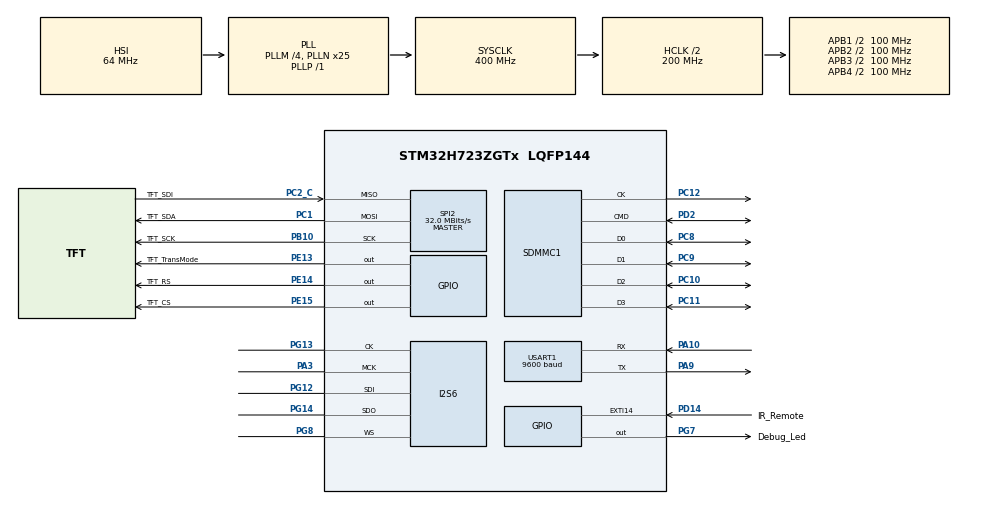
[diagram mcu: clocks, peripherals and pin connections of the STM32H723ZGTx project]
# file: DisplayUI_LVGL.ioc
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Bdma.Request0=SPI6_TX
Bdma.RequestsNb=1
Bdma.SPI6_TX.0.Direction=DMA_MEMORY_TO_PERIPH
Bdma.SPI6_TX.0.EventEnable=DISABLE
Bdma.SPI6_TX.0.Instance=BDMA_Channel0
Bdma.SPI6_TX.0.MemDataAlignment=DMA_MDATAALIGN_HALFWORD
Bdma.SPI6_TX.0.MemInc=DMA_MINC_ENABLE
Bdma.SPI6_TX.0.Mode=DMA_CIRCULAR
Bdma.SPI6_TX.0.PeriphDataAlignment=DMA_PDATAALIGN_HALFWORD
Bdma.SPI6_TX.0.PeriphInc=DMA_PINC_DISABLE
Bdma.SPI6_TX.0.Polarity=HAL_DMAMUX_REQ_GEN_RISING
Bdma.SPI6_TX.0.Priority=DMA_PRIORITY_LOW
Bdma.SPI6_TX.0.RequestNumber=1
Bdma.SPI6_TX.0.SignalID=NONE
Bdma.SPI6_TX.0.SyncEnable=DISABLE
Bdma.SPI6_TX.0.SyncPolarity=HAL_DMAMUX_SYNC_NO_EVENT
Bdma.SPI6_TX.0.SyncRequestNumber=1
Bdma.SPI6_TX.0.SyncSignalID=NONE
CORTEX_M7.default_mode_Activation=1
Dma.Request0=SPI2_TX
Dma.Request1=USART1_RX
Dma.SPI2_TX.0.Direction=DMA_MEMORY_TO_PERIPH
Dma.SPI2_TX.0.EventEnable=DISABLE
Dma.SPI2_TX.0.FIFOMode=DMA_FIFOMODE_DISABLE
Dma.SPI2_TX.0.Instance=DMA1_Stream3
Dma.SPI2_TX.0.MemDataAlignment=DMA_MDATAALIGN_BYTE
Dma.SPI2_TX.0.MemInc=DMA_MINC_ENABLE
Dma.SPI2_TX.0.Mode=DMA_NORMAL
Dma.SPI2_TX.0.PeriphDataAlignment=DMA_PDATAALIGN_BYTE
Dma.SPI2_TX.0.PeriphInc=DMA_PINC_DISABLE
Dma.SPI2_TX.0.Polarity=HAL_DMAMUX_REQ_GEN_RISING
Dma.SPI2_TX.0.Priority=DMA_PRIORITY_LOW
Dma.SPI2_TX.0.RequestNumber=1
Dma.SPI2_TX.0.SignalID=NONE
Dma.SPI2_TX.0.SyncEnable=DISABLE
Dma.SPI2_TX.0.SyncPolarity=HAL_DMAMUX_SYNC_NO_EVENT
Dma.SPI2_TX.0.SyncRequestNumber=1
Dma.SPI2_TX.0.SyncSignalID=NONE
Dma.USART1_RX.1.Direction=DMA_PERIPH_TO_MEMORY
Dma.USART1_RX.1.EventEnable=DISABLE
Dma.USART1_RX.1.FIFOMode=DMA_FIFOMODE_DISABLE
Dma.USART1_RX.1.Instance=DMA1_Stream0
Dma.USART1_RX.1.MemDataAlignment=DMA_MDATAALIGN_BYTE
Dma.USART1_RX.1.MemInc=DMA_MINC_ENABLE
Dma.USART1_RX.1.Mode=DMA_NORMAL
Dma.USART1_RX.1.PeriphDataAlignment=DMA_PDATAALIGN_BYTE
Dma.USART1_RX.1.PeriphInc=DMA_PINC_DISABLE
Dma.USART1_RX.1.Polarity=HAL_DMAMUX_REQ_GEN_RISING
Dma.USART1_RX.1.Priority=DMA_PRIORITY_LOW
Dma.USART1_RX.1.RequestNumber=1
Dma.USART1_RX.1.SignalID=NONE
Dma.USART1_RX.1.SyncEnable=DISABLE
Dma.USART1_RX.1.SyncPolarity=HAL_DMAMUX_SYNC_NO_EVENT
Dma.USART1_RX.1.SyncRequestNumber=1
Dma.USART1_RX.1.SyncSignalID=NONE
FATFS._FS_TIMEOUT=0x2710
FATFS._MAX_SS=4096
FATFS._MULTI_PARTITION=0
FATFS._USE_CHMOD=0
FATFS._USE_LABEL=1
FATFS._USE_LFN=3
I2S6.AudioFreq=I2S_AUDIOFREQ_16K
I2S6.ErrorAudioFreq=1.72 %
I2S6.Instance=SPI$Index
I2S6.RealAudioFreq=16.276 KHz
Mcu.Family=STM32H7
Mcu.Name=STM32H723ZGTx
Mcu.Package=LQFP144
NVIC.BDMA_Channel0_IRQn=true\:2\:0\:true\:false\:true\:false\:true\:true
NVIC.DMA1_Stream0_IRQn=true\:0\:0\:false\:false\:true\:false\:true\:true
NVIC.DMA1_Stream3_IRQn=true\:0\:0\:true\:false\:true\:false\:true\:true
NVIC.EXTI15_10_IRQn=true\:1\:0\:true\:false\:true\:true\:true\:true
NVIC.PriorityGroup=NVIC_PRIORITYGROUP_4
NVIC.SDMMC1_IRQn=true\:1\:0\:true\:false\:true\:true\:true\:true
NVIC.SPI2_IRQn=true\:0\:0\:false\:false\:true\:false\:true\:true
NVIC.USART1_IRQn=true\:0\:0\:false\:false\:true\:true\:true\:true
PA10.Mode=Asynchronous
PA10.Signal=USART1_RX
PA13(JTMS/SWDIO).Mode=Serial_Wire
PA13(JTMS/SWDIO).Signal=DEBUG_JTMS-SWDIO
PA14(JTCK/SWCLK).Mode=Serial_Wire
PA14(JTCK/SWCLK).Signal=DEBUG_JTCK-SWCLK
PA3.Mode=Master_Clock_Activated
PA3.Signal=I2S6_MCK
PA9.Mode=Asynchronous
PA9.Signal=USART1_TX
PB10.GPIO_Label=TFT_SCK
PB10.Mode=Full_Duplex_Master
PB10.Signal=SPI2_SCK
PC1.GPIO_Label=TFT_SDA
PC1.Mode=Full_Duplex_Master
PC1.Signal=SPI2_MOSI
PC10.Mode=SD_4_bits_Wide_bus
PC10.Signal=SDMMC1_D2
PC11.Mode=SD_4_bits_Wide_bus
PC11.Signal=SDMMC1_D3
PC12.Mode=SD_4_bits_Wide_bus
PC12.Signal=SDMMC1_CK
PC2_C.GPIO_Label=TFT_SDI
PC2_C.Mode=Full_Duplex_Master
PC2_C.Signal=SPI2_MISO
PC8.Mode=SD_4_bits_Wide_bus
PC8.Signal=SDMMC1_D0
PC9.Mode=SD_4_bits_Wide_bus
PC9.Signal=SDMMC1_D1
PD14.GPIO_Label=IR_Remote
PD14.GPIO_ModeDefaultEXTI=GPIO_MODE_IT_FALLING
PD14.GPIO_PuPd=GPIO_PULLUP
PD14.Signal=GPXTI14
PD2.Mode=SD_4_bits_Wide_bus
PD2.Signal=SDMMC1_CMD
PE13.GPIO_Label=TFT_TransMode
PE13.Signal=GPIO_Output
PE14.GPIO_Label=TFT_RS
PE14.Signal=GPIO_Output
PE15.GPIO_Label=TFT_CS
PE15.Signal=GPIO_Output
PG12.Mode=Full_Duplex_Master
PG12.Signal=I2S6_SDI
PG13.Mode=Full_Duplex_Master
PG13.Signal=I2S6_CK
PG14.Mode=Full_Duplex_Master
PG14.Signal=I2S6_SDO
PG7.GPIO_Label=Debug_Led
PG7.Signal=GPIO_Output
PG8.Mode=Full_Duplex_Master
PG8.Signal=I2S6_WS
PH0-OSC_IN.Mode=HSE-External-Oscillator
PH0-OSC_IN.Signal=RCC_OSC_IN
PH1-OSC_OUT.Mode=HSE-External-Oscillator
PH1-OSC_OUT.Signal=RCC_OSC_OUT
ProjectManager.HeapSize=0x200
ProjectManager.StackSize=0x400
ProjectManager.TargetToolchain=STM32CubeIDE
RCC.ADCFreq_Value=64000000
RCC.APB1Freq_Value=100000000
RCC.APB2Freq_Value=100000000
RCC.APB3Freq_Value=100000000
RCC.APB4Freq_Value=100000000
RCC.CortexFreq_Value=400000000
RCC.D1PPRE=RCC_APB3_DIV2
RCC.D2PPRE1=RCC_APB1_DIV2
RCC.D2PPRE2=RCC_APB2_DIV2
RCC.D3PPRE=RCC_APB4_DIV2
RCC.DIVM1=4
RCC.DIVM2=4
RCC.DIVM3=4
RCC.DIVN1=25
RCC.DIVN2=12
RCC.DIVN3=12
RCC.DIVP1=1
RCC.DIVP2=3
RCC.DIVP3=1
RCC.DIVR2=1
RCC.HCLKFreq_Value=200000000
RCC.HPRE=RCC_HCLK_DIV2
RCC.PLL2FRACN=0
RCC.PLL3FRACN=0
RCC.PLLFRACN=0
RCC.SPI123CLockSelection=RCC_SPI123CLKSOURCE_CLKP
RCC.SYSCLKFreq_VALUE=400000000
RCC.SYSCLKSource=RCC_SYSCLKSOURCE_PLLCLK
RCC.USBFreq_Value=200000000
SDMMC1.ClockDiv=4
SDMMC1.HardwareFlowControl=SDMMC_HARDWARE_FLOW_CONTROL_ENABLE
SDMMC1.TransceiverPresent=SDMMC_TRANSCEIVER_NOT_PRESENT
SPI2.BaudRatePrescaler=SPI_BAUDRATEPRESCALER_2
SPI2.CalculateBaudRate=32.0 MBits/s
SPI2.DataSize=SPI_DATASIZE_8BIT
SPI2.Direction=SPI_DIRECTION_2LINES
SPI2.FirstBit=SPI_FIRSTBIT_MSB
SPI2.Mode=SPI_MODE_MASTER
SPI2.NSSPMode=SPI_NSS_PULSE_DISABLE
SPI2.VirtualType=VM_MASTER
TIM4.Prescaler=216
USART1.BaudRate=9600
USART1.VirtualMode-Asynchronous=VM_ASYNC
VP_FATFS_VS_Generic.Mode=User_defined
VP_FATFS_VS_SDIO.Mode=SDIO
VP_LIBJPEG_VS_JPEGLIB.Mode=Enabled
VP_MEMORYMAP_VS_MEMORYMAP.Mode=CurAppReg
VP_TIM4_VS_ClockSourceINT.Mode=Internal
board=custom

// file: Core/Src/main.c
/* USER CODE BEGIN Header */
/**
 ******************************************************************************
 * @file           : main.c
 * @brief          : Main program body
 ******************************************************************************
 * @attention
 *
 * Copyright (c) 2025 STMicroelectronics.
 * All rights reserved.
 *
 * This software is licensed under terms that can be found in the LICENSE file
 * in the root directory of this software component.
 * If no LICENSE file comes with this software, it is provided AS-IS.
 *
 ******************************************************************************
 */
/* USER CODE END Header */
#include "main.h"
#include "fatfs.h"
#include "libjpeg.h"

/* USER CODE BEGIN Includes */
#include "display.h"
//#include "jpeg_lcd.h"
#include "sdio_benchmark.h"
#include "sdio_functions.h"
#include "wav_player.h"
#include "itr.h"

#include "lvgl.h"
#include "ui.h"
/* USER CODE END Includes */

I2S_HandleTypeDef hi2s6;
DMA_HandleTypeDef hdma_spi6_tx;

SD_HandleTypeDef hsd1;

SPI_HandleTypeDef hspi2;
DMA_HandleTypeDef hdma_spi2_tx;

TIM_HandleTypeDef htim4;

UART_HandleTypeDef huart1;
DMA_HandleTypeDef hdma_usart1_rx;

/* USER CODE BEGIN PV */
//For File browser and UART
uint8_t firmware_data[1024];
volatile uint8_t FileSelection = 0;
SDFile_Info FileListTree;
SDFile_Info *Current_Page;
//For image display
UINT br;
uint8_t image_id = 0;
volatile uint8_t IsPlayingContent = 0;
char path[256];
char SDFullName[256];
//For IR Remote control
uint32_t tempCode;
uint8_t bitIndex;
uint8_t cmd;
uint8_t cmdli;
uint32_t code;
//extern lv_obj_t *Slider;
extern objects_t objects;
/* USER CODE END PV */

void SystemClock_Config(void);
void PeriphCommonClock_Config(void);
static void MPU_Config(void);
static void MX_GPIO_Init(void);
static void MX_DMA_Init(void);
static void MX_BDMA_Init(void);
static void MX_SPI2_Init(void);
static void MX_USART1_UART_Init(void);
static void MX_I2S6_Init(void);
static void MX_TIM4_Init(void);
static void MX_SDMMC1_SD_Init(void);
/* USER CODE BEGIN PFP */
static void IR_Control(uint32_t Ir_code);
/* USER CODE END PFP */

/* USER CODE BEGIN 0 */

int _write(int fd, unsigned char *buf, int len) {
	if (fd == 1 || fd == 2) {                              // stdout or stderr ?
		HAL_UART_Transmit(&huart1, buf, len, 999); // Print to the UART
	}
	return len;
}

// GPIO EXTI callbacks
void HAL_GPIO_EXTI_Callback(uint16_t GPIO_Pin) {
	UNUSED(GPIO_Pin);
	if (GPIO_Pin == IR_Remote_Pin) {
		if (__HAL_TIM_GET_COUNTER(&htim4) > 8000) {
			tempCode = 0;
			bitIndex = 0;
		} else if (__HAL_TIM_GET_COUNTER(&htim4) > 1700) {
			tempCode |= (1UL << (31 - bitIndex)); // write 1
			bitIndex++;
		} else if (__HAL_TIM_GET_COUNTER(&htim4) > 1000) {
			tempCode &= ~(1UL << (31 - bitIndex)); // write 0
			bitIndex++;
		}
		if (bitIndex == 32) {
			cmdli = ~tempCode;   // Logical inverted last 8 bits
			cmd = tempCode >> 8; // Second last 8 bits
			if (cmdli == cmd)    // Check for errors
					{
				code = tempCode; // If no bit errors
				// Do your main work HERE
				IR_Control(code);
			}
			bitIndex = 0;
		}
		__HAL_TIM_SET_COUNTER(&htim4, 0);
	}
}
// UART callbacks
void HAL_UARTEx_RxEventCallback(UART_HandleTypeDef *huart, uint16_t Size) {
	memset(firmware_data, 0, 1024);
	HAL_UARTEx_ReceiveToIdle_IT(&huart1, firmware_data, 1024);
}

// Cb for LVGL display
void my_flush_cb(lv_display_t * display, const lv_area_t * area, uint8_t * px_map)
{
    /* The most simple case (also the slowest) to send all rendered pixels to the
     * screen one-by-one.  `put_px` is just an example.  It needs to be implemented by you. */
    uint16_t * buf16 = (uint16_t *)px_map; /* Let's say it's a 16 bit (RGB565) display */
    int32_t x, y;
    for(y = area->y1; y <= area->y2; y++) {
        for(x = area->x1; x <= area->x2; x++) {
        	*buf16 = *buf16 >> 8 | *buf16 << 8;
        	LCD_DrawPixData(x,y,1,1,buf16);
            //put_px(x, y, *buf16);
            buf16++;
        }
    }

    /* IMPORTANT!!!
     * Inform LVGL that flushing is complete so buffer can be modified again. */
    lv_display_flush_ready(display);
}
volatile uint32_t Remaining = 0;
/* USER CODE END 0 */

int main(void)
{

  /* USER CODE BEGIN 1 */
	FIL video_f;

  /* USER CODE END 1 */

  /* MPU Configuration--------------------------------------------------------*/
  MPU_Config();

  /* MCU Configuration--------------------------------------------------------*/

  /* Reset of all peripherals, Initializes the Flash interface and the Systick. */
  HAL_Init();

  /* Configure the system clock */
  SystemClock_Config();

  /* Configure the peripherals common clocks */
  PeriphCommonClock_Config();

  /* Initialize all configured peripherals */
  MX_GPIO_Init();
  MX_DMA_Init();
  MX_BDMA_Init();
  MX_FATFS_Init();
  MX_SPI2_Init();
  MX_LIBJPEG_Init();
  MX_USART1_UART_Init();
  MX_I2S6_Init();
  MX_TIM4_Init();
  MX_SDMMC1_SD_Init();
  /* USER CODE BEGIN 2 */
	// System peripheral
	HAL_TIM_Base_Start(&htim4);
	__HAL_TIM_SET_COUNTER(&htim4, 0);
	HAL_UARTEx_ReceiveToIdle_IT(&huart1, firmware_data, 1024);
	// User playground
	// For display
	LCD_Init(&hspi2, &IsPlayingContent, 1);
	LCD_AdjustGamma();
	LCD_FillScreen(0x0000, 320, 240);
//For LVGL
	lv_init();
	lv_tick_set_cb(HAL_GetTick);
	lv_display_t * display1 = lv_display_create(320, 240);
	static uint8_t buf1[320 * 240 / 10 * 2];
	/* Set display buffer for display `display1`. */
	lv_display_set_buffers(display1, buf1, NULL, sizeof(buf1), LV_DISPLAY_RENDER_MODE_PARTIAL);
	lv_display_set_flush_cb(display1, my_flush_cb);
    ui_init();
	// For SD card
#define IDLEx
#ifndef IDLE
	while (1) {
		if (sdio_mount() == FR_OK) {
			break;
		}
	}
	HAL_Delay(2000);
	IsPlayingContent = 0;

	sdio_list_files(&FileListTree);
    print_directory(FileListTree.Directory_Ptr, 0, FileListTree.childCount);

	Itr_InitI2SCBFunc(Audio_I2S_TxHalfCb, Audio_I2S_TxCpltCb);
	Itr_InitSPICBFunc(LCD_SPI_TxCpltCb, LCD_SPI_TxRxCpltCb);
//	 For File browser
	/*Point to root page*/

//	memset(path,0,256);
//	memset(SDFullName,0,256);
//	strcat(path,"0:/");

	Current_Page = FileListTree.Directory_Ptr;
	Browser_Init(&Current_Page);
//	Audio_Init(&hi2s6, &IsPlayingContent);
//	mp3_start_play("Vicetone_Nevada.mp3");
	uint32_t maxsize = Remaining;
	uint32_t prev = maxsize;
	uint32_t percen = 0;
	uint32_t time_till_next = 0;
	uint32_t oneIn100 = maxsize/100;

#endif
  /* USER CODE END 2 */
	uint32_t now = 0; uint32_t next_tick = 2000;
	uint8_t block = 0;
  /* Infinite loop */
  /* USER CODE BEGIN WHILE */
	while (1) {
		now = uwTick;
		if (now > next_tick) {
			if (IsPlayingContent) {
				time_till_next = lv_timer_handler();
				if( (prev - Remaining) >  oneIn100){
					prev = Remaining;
					percen++;
					lv_bar_set_value(objects.play_back_status, percen, LV_ANIM_ON);
				}
				next_tick += time_till_next;
			}
			else{
				next_tick += 1000;
			}

		}
		if(!block && IsPlayingContent){
			if (Current_Page[FileSelection].format == emMP3) {
				LCD_FillScreen(0xffff, 320, 240);
				sprintf(SDFullName, "%s/%s", path, Current_Page[FileSelection].name);
				printf("MP3 file path: %s\n", SDFullName);
				Audio_Init(&hi2s6, &IsPlayingContent);
				time_till_next = lv_timer_handler();
				HAL_Delay(time_till_next);
				mp3_start_play(SDFullName);
				//LVGL
				lv_obj_clean(lv_scr_act());
				ui_init();
				lv_textarea_set_text(objects.music_file, Current_Page[FileSelection].name);
				maxsize = Remaining;
				prev = maxsize;
				oneIn100 = maxsize/100;
				percen = 0;
				//Browser_FileCtrl(IR_EQ, FileSelection);
				block = 1;
				uint32_t time_till_next = lv_timer_handler();
			}
		}
		else if(block && IsPlayingContent == 0){
			block = 0;
			Browser_FileCtrl(IR_EQ, FileSelection);
		}

    /* USER CODE END WHILE */

	}
}

void SystemClock_Config(void)
{
  RCC_OscInitTypeDef RCC_OscInitStruct = {0};
  RCC_ClkInitTypeDef RCC_ClkInitStruct = {0};

  /** Supply configuration update enable
  */
  HAL_PWREx_ConfigSupply(PWR_LDO_SUPPLY);

  /** Configure the main internal regulator output voltage
  */
  __HAL_PWR_VOLTAGESCALING_CONFIG(PWR_REGULATOR_VOLTAGE_SCALE1);

  while(!__HAL_PWR_GET_FLAG(PWR_FLAG_VOSRDY)) {}

  /** Initializes the RCC Oscillators according to the specified parameters
  * in the RCC_OscInitTypeDef structure.
  */
  RCC_OscInitStruct.OscillatorType = RCC_OSCILLATORTYPE_HSI;
  RCC_OscInitStruct.HSIState = RCC_HSI_DIV1;
  RCC_OscInitStruct.HSICalibrationValue = 64;
  RCC_OscInitStruct.PLL.PLLState = RCC_PLL_ON;
  RCC_OscInitStruct.PLL.PLLSource = RCC_PLLSOURCE_HSI;
  RCC_OscInitStruct.PLL.PLLM = 4;
  RCC_OscInitStruct.PLL.PLLN = 25;
  RCC_OscInitStruct.PLL.PLLP = 1;
  RCC_OscInitStruct.PLL.PLLQ = 2;
  RCC_OscInitStruct.PLL.PLLR = 2;
  RCC_OscInitStruct.PLL.PLLRGE = RCC_PLL1VCIRANGE_3;
  RCC_OscInitStruct.PLL.PLLVCOSEL = RCC_PLL1VCOWIDE;
  RCC_OscInitStruct.PLL.PLLFRACN = 0;
  if (HAL_RCC_OscConfig(&RCC_OscInitStruct) != HAL_OK)
  {
    Error_Handler();
  }

  /** Initializes the CPU, AHB and APB buses clocks
  */
  RCC_ClkInitStruct.ClockType = RCC_CLOCKTYPE_HCLK|RCC_CLOCKTYPE_SYSCLK
                              |RCC_CLOCKTYPE_PCLK1|RCC_CLOCKTYPE_PCLK2
                              |RCC_CLOCKTYPE_D3PCLK1|RCC_CLOCKTYPE_D1PCLK1;
  RCC_ClkInitStruct.SYSCLKSource = RCC_SYSCLKSOURCE_PLLCLK;
  RCC_ClkInitStruct.SYSCLKDivider = RCC_SYSCLK_DIV1;
  RCC_ClkInitStruct.AHBCLKDivider = RCC_HCLK_DIV2;
  RCC_ClkInitStruct.APB3CLKDivider = RCC_APB3_DIV2;
  RCC_ClkInitStruct.APB1CLKDivider = RCC_APB1_DIV2;
  RCC_ClkInitStruct.APB2CLKDivider = RCC_APB2_DIV2;
  RCC_ClkInitStruct.APB4CLKDivider = RCC_APB4_DIV2;

  if (HAL_RCC_ClockConfig(&RCC_ClkInitStruct, FLASH_LATENCY_2) != HAL_OK)
  {
    Error_Handler();
  }
}

void PeriphCommonClock_Config(void)
{
  RCC_PeriphCLKInitTypeDef PeriphClkInitStruct = {0};

  /** Initializes the peripherals clock
  */
  PeriphClkInitStruct.PeriphClockSelection = RCC_PERIPHCLK_CKPER;
  PeriphClkInitStruct.CkperClockSelection = RCC_CLKPSOURCE_HSI;
  if (HAL_RCCEx_PeriphCLKConfig(&PeriphClkInitStruct) != HAL_OK)
  {
    Error_Handler();
  }
}

static void MX_I2S6_Init(void)
{

  hi2s6.Instance = SPI6;
  hi2s6.Init.Mode = I2S_MODE_MASTER_FULLDUPLEX;
  hi2s6.Init.Standard = I2S_STANDARD_PHILIPS;
  hi2s6.Init.DataFormat = I2S_DATAFORMAT_16B;
  hi2s6.Init.MCLKOutput = I2S_MCLKOUTPUT_ENABLE;
  hi2s6.Init.AudioFreq = I2S_AUDIOFREQ_16K;
  hi2s6.Init.CPOL = I2S_CPOL_LOW;
  hi2s6.Init.FirstBit = I2S_FIRSTBIT_MSB;
  hi2s6.Init.WSInversion = I2S_WS_INVERSION_DISABLE;
  hi2s6.Init.Data24BitAlignment = I2S_DATA_24BIT_ALIGNMENT_RIGHT;
  hi2s6.Init.MasterKeepIOState = I2S_MASTER_KEEP_IO_STATE_DISABLE;
  if (HAL_I2S_Init(&hi2s6) != HAL_OK)
  {
    Error_Handler();
  }

}

static void MX_SDMMC1_SD_Init(void)
{

  hsd1.Instance = SDMMC1;
  hsd1.Init.ClockEdge = SDMMC_CLOCK_EDGE_RISING;
  hsd1.Init.ClockPowerSave = SDMMC_CLOCK_POWER_SAVE_DISABLE;
  hsd1.Init.BusWide = SDMMC_BUS_WIDE_4B;
  hsd1.Init.HardwareFlowControl = SDMMC_HARDWARE_FLOW_CONTROL_ENABLE;
  hsd1.Init.ClockDiv = 4;
  if (HAL_SD_Init(&hsd1) != HAL_OK)
  {
    Error_Handler();
  }

}

static void MX_SPI2_Init(void)
{

  /* SPI2 parameter configuration*/
  hspi2.Instance = SPI2;
  hspi2.Init.Mode = SPI_MODE_MASTER;
  hspi2.Init.Direction = SPI_DIRECTION_2LINES;
  hspi2.Init.DataSize = SPI_DATASIZE_8BIT;
  hspi2.Init.CLKPolarity = SPI_POLARITY_LOW;
  hspi2.Init.CLKPhase = SPI_PHASE_1EDGE;
  hspi2.Init.NSS = SPI_NSS_SOFT;
  hspi2.Init.BaudRatePrescaler = SPI_BAUDRATEPRESCALER_2;
  hspi2.Init.FirstBit = SPI_FIRSTBIT_MSB;
  hspi2.Init.TIMode = SPI_TIMODE_DISABLE;
  hspi2.Init.CRCCalculation = SPI_CRCCALCULATION_DISABLE;
  hspi2.Init.CRCPolynomial = 0x0;
  hspi2.Init.NSSPMode = SPI_NSS_PULSE_DISABLE;
  hspi2.Init.NSSPolarity = SPI_NSS_POLARITY_LOW;
  hspi2.Init.FifoThreshold = SPI_FIFO_THRESHOLD_01DATA;
  hspi2.Init.TxCRCInitializationPattern = SPI_CRC_INITIALIZATION_ALL_ZERO_PATTERN;
  hspi2.Init.RxCRCInitializationPattern = SPI_CRC_INITIALIZATION_ALL_ZERO_PATTERN;
  hspi2.Init.MasterSSIdleness = SPI_MASTER_SS_IDLENESS_00CYCLE;
  hspi2.Init.MasterInterDataIdleness = SPI_MASTER_INTERDATA_IDLENESS_00CYCLE;
  hspi2.Init.MasterReceiverAutoSusp = SPI_MASTER_RX_AUTOSUSP_DISABLE;
  hspi2.Init.MasterKeepIOState = SPI_MASTER_KEEP_IO_STATE_DISABLE;
  hspi2.Init.IOSwap = SPI_IO_SWAP_DISABLE;
  if (HAL_SPI_Init(&hspi2) != HAL_OK)
  {
    Error_Handler();
  }

}

static void MX_TIM4_Init(void)
{

  TIM_ClockConfigTypeDef sClockSourceConfig = {0};
  TIM_MasterConfigTypeDef sMasterConfig = {0};

  htim4.Instance = TIM4;
  htim4.Init.Prescaler = 216;
  htim4.Init.CounterMode = TIM_COUNTERMODE_UP;
  htim4.Init.Period = 65535;
  htim4.Init.ClockDivision = TIM_CLOCKDIVISION_DIV1;
  htim4.Init.AutoReloadPreload = TIM_AUTORELOAD_PRELOAD_DISABLE;
  if (HAL_TIM_Base_Init(&htim4) != HAL_OK)
  {
    Error_Handler();
  }
  sClockSourceConfig.ClockSource = TIM_CLOCKSOURCE_INTERNAL;
  if (HAL_TIM_ConfigClockSource(&htim4, &sClockSourceConfig) != HAL_OK)
  {
    Error_Handler();
  }
  sMasterConfig.MasterOutputTrigger = TIM_TRGO_RESET;
  sMasterConfig.MasterSlaveMode = TIM_MASTERSLAVEMODE_DISABLE;
  if (HAL_TIMEx_MasterConfigSynchronization(&htim4, &sMasterConfig) != HAL_OK)
  {
    Error_Handler();
  }

}

static void MX_USART1_UART_Init(void)
{

  huart1.Instance = USART1;
  huart1.Init.BaudRate = 9600;
  huart1.Init.WordLength = UART_WORDLENGTH_8B;
  huart1.Init.StopBits = UART_STOPBITS_1;
  huart1.Init.Parity = UART_PARITY_NONE;
  huart1.Init.Mode = UART_MODE_TX_RX;
  huart1.Init.HwFlowCtl = UART_HWCONTROL_NONE;
  huart1.Init.OverSampling = UART_OVERSAMPLING_16;
  huart1.Init.OneBitSampling = UART_ONE_BIT_SAMPLE_DISABLE;
  huart1.Init.ClockPrescaler = UART_PRESCALER_DIV1;
  huart1.AdvancedInit.AdvFeatureInit = UART_ADVFEATURE_NO_INIT;
  if (HAL_UART_Init(&huart1) != HAL_OK)
  {
    Error_Handler();
  }
  if (HAL_UARTEx_SetTxFifoThreshold(&huart1, UART_TXFIFO_THRESHOLD_1_8) != HAL_OK)
  {
    Error_Handler();
  }
  if (HAL_UARTEx_SetRxFifoThreshold(&huart1, UART_RXFIFO_THRESHOLD_1_8) != HAL_OK)
  {
    Error_Handler();
  }
  if (HAL_UARTEx_DisableFifoMode(&huart1) != HAL_OK)
  {
    Error_Handler();
  }

}

static void MX_BDMA_Init(void)
{

  /* DMA controller clock enable */
  __HAL_RCC_BDMA_CLK_ENABLE();

  /* DMA interrupt init */
  /* BDMA_Channel0_IRQn interrupt configuration */
  HAL_NVIC_SetPriority(BDMA_Channel0_IRQn, 2, 0);
  HAL_NVIC_EnableIRQ(BDMA_Channel0_IRQn);

}

static void MX_DMA_Init(void)
{

  /* DMA controller clock enable */
  __HAL_RCC_DMA1_CLK_ENABLE();

  /* DMA interrupt init */
  /* DMA1_Stream0_IRQn interrupt configuration */
  HAL_NVIC_SetPriority(DMA1_Stream0_IRQn, 0, 0);
  HAL_NVIC_EnableIRQ(DMA1_Stream0_IRQn);
  /* DMA1_Stream3_IRQn interrupt configuration */
  HAL_NVIC_SetPriority(DMA1_Stream3_IRQn, 0, 0);
  HAL_NVIC_EnableIRQ(DMA1_Stream3_IRQn);

}

static void MX_GPIO_Init(void)
{
  GPIO_InitTypeDef GPIO_InitStruct = {0};

  /* GPIO Ports Clock Enable */
  __HAL_RCC_GPIOH_CLK_ENABLE();
  __HAL_RCC_GPIOC_CLK_ENABLE();
  __HAL_RCC_GPIOA_CLK_ENABLE();
  __HAL_RCC_GPIOE_CLK_ENABLE();
  __HAL_RCC_GPIOB_CLK_ENABLE();
  __HAL_RCC_GPIOD_CLK_ENABLE();
  __HAL_RCC_GPIOG_CLK_ENABLE();

  /*Configure GPIO pin Output Level */
  HAL_GPIO_WritePin(GPIOE, TFT_TransMode_Pin|TFT_RS_Pin|TFT_CS_Pin, GPIO_PIN_RESET);

  /*Configure GPIO pin Output Level */
  HAL_GPIO_WritePin(Debug_Led_GPIO_Port, Debug_Led_Pin, GPIO_PIN_RESET);

  /*Configure GPIO pins : TFT_TransMode_Pin TFT_RS_Pin TFT_CS_Pin */
  GPIO_InitStruct.Pin = TFT_TransMode_Pin|TFT_RS_Pin|TFT_CS_Pin;
  GPIO_InitStruct.Mode = GPIO_MODE_OUTPUT_PP;
  GPIO_InitStruct.Pull = GPIO_NOPULL;
  GPIO_InitStruct.Speed = GPIO_SPEED_FREQ_LOW;
  HAL_GPIO_Init(GPIOE, &GPIO_InitStruct);

  /*Configure GPIO pin : IR_Remote_Pin */
  GPIO_InitStruct.Pin = IR_Remote_Pin;
  GPIO_InitStruct.Mode = GPIO_MODE_IT_FALLING;
  GPIO_InitStruct.Pull = GPIO_PULLUP;
  HAL_GPIO_Init(IR_Remote_GPIO_Port, &GPIO_InitStruct);

  /*Configure GPIO pin : Debug_Led_Pin */
  GPIO_InitStruct.Pin = Debug_Led_Pin;
  GPIO_InitStruct.Mode = GPIO_MODE_OUTPUT_PP;
  GPIO_InitStruct.Pull = GPIO_NOPULL;
  GPIO_InitStruct.Speed = GPIO_SPEED_FREQ_LOW;
  HAL_GPIO_Init(Debug_Led_GPIO_Port, &GPIO_InitStruct);

  /* EXTI interrupt init*/
  HAL_NVIC_SetPriority(IR_Remote_EXTI_IRQn, 1, 0);
  HAL_NVIC_EnableIRQ(IR_Remote_EXTI_IRQn);

}

/* USER CODE BEGIN 4 */
void IR_Control(uint32_t Ir_code) {

	switch (Ir_code) {
	case IR_CH_Minus:
		break;
	case IR_CH:
		break;
	case IR_CH_Plus:
		break;
	case IR_Prev:
		break;
	case IR_Next:
		break;
	case IR_Play_Pause: //Enter
		Browser_FileCtrl(IR_Play_Pause, FileSelection);
		IsPlayingContent = 1;
		break;
	case IR_Plus:
		FileSelection++;

		Browser_FileCtrl(IR_Plus, FileSelection);
		break;
	case IR_Minus:
		if (FileSelection > 0) {
			FileSelection--;
			Browser_FileCtrl(IR_Minus, FileSelection);
		}
		break;
	case IR_EQ: //Back
		if (IsPlayingContent == 0) {
			Back2PrevFolder(&Current_Page, &FileListTree, path);
			printf("Back to previous\n");
		}
		printf("Back: %s\n", Current_Page->name);
		IsPlayingContent = 0;
		Browser_FileCtrl(IR_EQ, FileSelection);
		break;
	case IR_0:
		break;
	case IR_100_Plus:
		FileSelection = 18;
		Browser_FileCtrl(IR_100_Plus, FileSelection);
		break;
	case IR_200_Plus:
		break;
	case IR_1:
		break;
	case IR_2:
		break;
	case IR_3:
		break;
	case IR_4:
		break;
	case IR_5:
		break;
	case IR_6:
		break;
	case IR_7:
		break;
	case IR_8:
		break;
	case IR_9:
		break;
	default:
		break;
	}
}
/* USER CODE END 4 */

 /* MPU Configuration */

void MPU_Config(void)
{
  MPU_Region_InitTypeDef MPU_InitStruct = {0};

  /* Disables the MPU */
  HAL_MPU_Disable();

  /** Initializes and configures the Region and the memory to be protected
  */
  MPU_InitStruct.Enable = MPU_REGION_ENABLE;
  MPU_InitStruct.Number = MPU_REGION_NUMBER0;
  MPU_InitStruct.BaseAddress = 0x0;
  MPU_InitStruct.Size = MPU_REGION_SIZE_4GB;
  MPU_InitStruct.SubRegionDisable = 0x87;
  MPU_InitStruct.TypeExtField = MPU_TEX_LEVEL0;
  MPU_InitStruct.AccessPermission = MPU_REGION_NO_ACCESS;
  MPU_InitStruct.DisableExec = MPU_INSTRUCTION_ACCESS_DISABLE;
  MPU_InitStruct.IsShareable = MPU_ACCESS_SHAREABLE;
  MPU_InitStruct.IsCacheable = MPU_ACCESS_NOT_CACHEABLE;
  MPU_InitStruct.IsBufferable = MPU_ACCESS_NOT_BUFFERABLE;

  HAL_MPU_ConfigRegion(&MPU_InitStruct);
  /* Enables the MPU */
  HAL_MPU_Enable(MPU_PRIVILEGED_DEFAULT);

}

void Error_Handler(void)
{
	__disable_irq();
	while (1) {
	}
}
